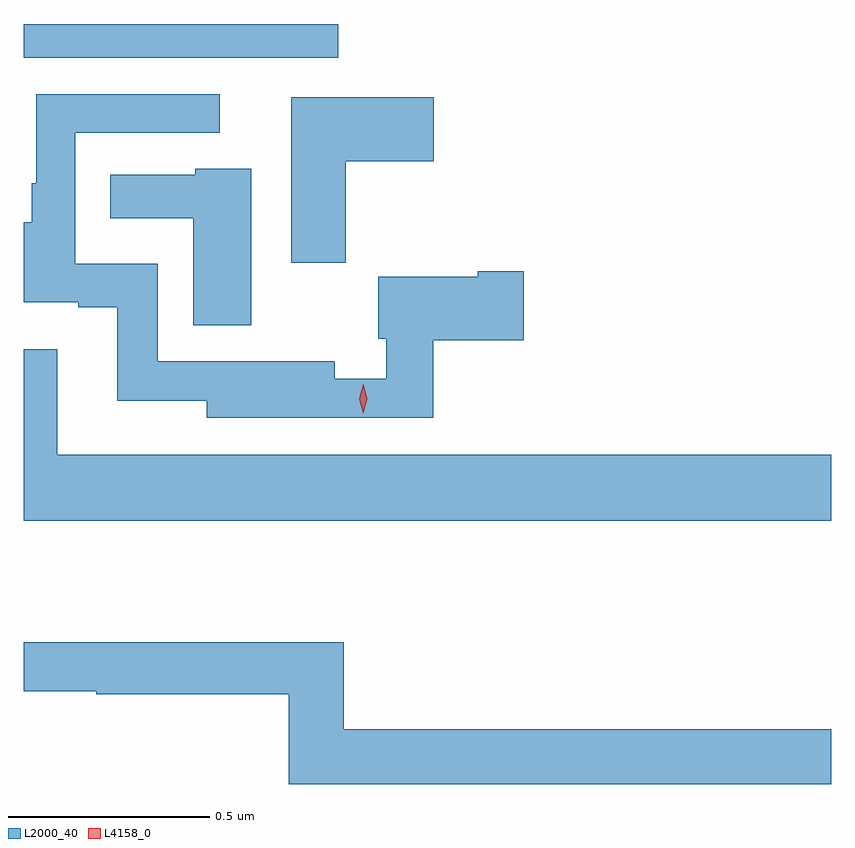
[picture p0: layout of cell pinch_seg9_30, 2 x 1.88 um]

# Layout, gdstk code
import gdstk
lib = gdstk.Library(unit=1e-6, precision=1e-09)
def R(c, l, rs):  # rectangles x0, y0, x1, y1
    for r in rs: c.add(gdstk.rectangle(r[:2], r[2:], *l))
def P(c, l, *ps):  # polygons
    for p in ps: c.add(gdstk.Polygon(p, *l))
L2000_40 = (2000, 40)
L4158_0 = (4158, 0)

pinch_seg9_30 = lib.new_cell('pinch_seg9_30')
R(pinch_seg9_30, L2000_40, [(929.045,1232.199,929.824,1232.283)])
P(pinch_seg9_30, L2000_40, [(929.711,1231.308),(930.059,1231.308),(930.059,1231.499),(930.283,1231.499),(930.283,1231.67),(930.17,1231.67),(930.17,1231.657),(929.923,1231.657),(929.923,1231.503),(929.943,1231.503),(929.943,1231.404),(929.815,1231.404),(929.815,1231.447),(929.377,1231.447),(929.377,1231.689),(929.172,1231.689),(929.172,1232.013),(929.53,1232.013),(929.53,1232.109),(929.076,1232.109),(929.076,1231.888),(929.064,1231.888),(929.064,1231.792),(929.045,1231.792),(929.045,1231.593),(929.18,1231.593),(929.18,1231.581),(929.276,1231.581),(929.276,1231.349),(929.498,1231.349),(929.498,1231.307),(929.711,1231.307)],
  [(929.843,1231.943),(930.061,1231.943),(930.061,1232.101),(929.708,1232.101),(929.708,1231.692),(929.843,1231.692)],
  [(929.608,1231.924),(929.469,1231.924),(929.469,1231.909),(929.259,1231.909),(929.259,1231.802),(929.465,1231.802),(929.465,1231.536),(929.608,1231.536)],
  [(931.045,1231.216),(929.128,1231.216),(929.128,1231.477),(929.045,1231.477),(929.045,1231.052),(931.045,1231.052)],
  [(931.045,1230.536),(929.837,1230.536),(929.837,1230.751),(929.045,1230.751),(929.045,1230.63),(929.224,1230.63),(929.224,1230.622),(929.701,1230.622),(929.701,1230.4),(931.045,1230.4)])
P(pinch_seg9_30, L4158_0, [(929.886,1231.319),(929.886,1231.319),(929.876,1231.354),(929.886,1231.39),(929.886,1231.39),(929.886,1231.39),(929.896,1231.354),(929.886,1231.319)])

lib.write_gds('pinch_seg9_30.gds')
